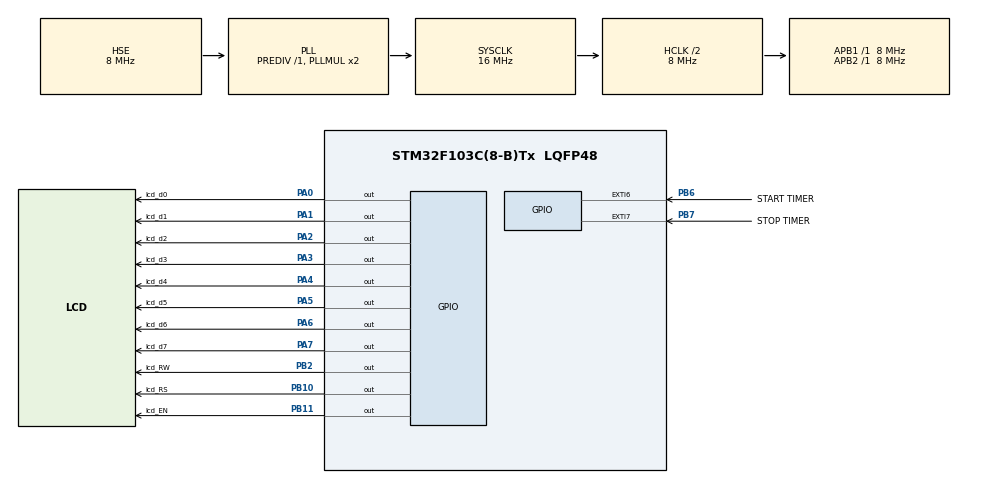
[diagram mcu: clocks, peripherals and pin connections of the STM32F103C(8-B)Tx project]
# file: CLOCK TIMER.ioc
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Mcu.Family=STM32F1
Mcu.Name=STM32F103C(8-B)Tx
Mcu.Package=LQFP48
NVIC.EXTI9_5_IRQn=true\:0\:0\:false\:false\:true\:true\:true\:true
NVIC.PriorityGroup=NVIC_PRIORITYGROUP_4
NVIC.TIM1_BRK_IRQn=true\:0\:0\:false\:false\:true\:true\:true\:true
NVIC.TIM1_UP_IRQn=true\:0\:0\:false\:false\:true\:true\:true\:true
PA0-WKUP.GPIO_Label=lcd_d0
PA0-WKUP.Signal=GPIO_Output
PA1.GPIO_Label=lcd_d1
PA1.Signal=GPIO_Output
PA13.Mode=Serial_Wire
PA13.Signal=SYS_JTMS-SWDIO
PA14.Mode=Serial_Wire
PA14.Signal=SYS_JTCK-SWCLK
PA2.GPIO_Label=lcd_d2
PA2.Signal=GPIO_Output
PA3.GPIO_Label=lcd_d3
PA3.Signal=GPIO_Output
PA4.GPIO_Label=lcd_d4
PA4.Signal=GPIO_Output
PA5.GPIO_Label=lcd_d5
PA5.Signal=GPIO_Output
PA6.GPIO_Label=lcd_d6
PA6.Signal=GPIO_Output
PA7.GPIO_Label=lcd_d7
PA7.Signal=GPIO_Output
PB10.GPIO_Label=lcd_RS
PB10.Signal=GPIO_Output
PB11.GPIO_Label=lcd_EN
PB11.Signal=GPIO_Output
PB2.GPIO_Label=lcd_RW
PB2.Signal=GPIO_Output
PB6.GPIO_Label=START TIMER 
PB6.GPIO_PuPd=GPIO_PULLDOWN
PB6.Signal=GPXTI6
PB7.GPIO_Label=STOP TIMER 
PB7.GPIO_PuPd=GPIO_PULLDOWN
PB7.Signal=GPXTI7
PD0-OSC_IN.Mode=HSE-External-Oscillator
PD0-OSC_IN.Signal=RCC_OSC_IN
PD1-OSC_OUT.Mode=HSE-External-Oscillator
PD1-OSC_OUT.Signal=RCC_OSC_OUT
ProjectManager.HeapSize=0x200
ProjectManager.StackSize=0x400
ProjectManager.TargetToolchain=MDK-ARM V5.32
RCC.AHBCLKDivider=RCC_SYSCLK_DIV2
RCC.AHBFreq_Value=8000000
RCC.APB1Freq_Value=8000000
RCC.APB1TimFreq_Value=8000000
RCC.APB2Freq_Value=8000000
RCC.APB2TimFreq_Value=8000000
RCC.HCLKFreq_Value=8000000
RCC.PLLSourceVirtual=RCC_PLLSOURCE_HSE
RCC.SYSCLKFreq_VALUE=16000000
RCC.SYSCLKSource=RCC_SYSCLKSOURCE_PLLCLK
RCC.USBFreq_Value=16000000
TIM1.Period=99
TIM1.Prescaler=7999
VP_TIM1_VS_ClockSourceINT.Mode=Internal
board=custom

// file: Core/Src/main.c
/* USER CODE BEGIN Header */
/**
  ******************************************************************************
  * @file           : main.c
  * @brief          : Main program body
  ******************************************************************************
  * @attention
  *
  * Copyright (c) 2026 STMicroelectronics.
  * All rights reserved.
  *
  * This software is licensed under terms that can be found in the LICENSE file
  * in the root directory of this software component.
  * If no LICENSE file comes with this software, it is provided AS-IS.
  *
  ******************************************************************************
  */
/* USER CODE END Header */
#include "main.h"

/* USER CODE BEGIN Includes */
#include "lcd.h"
#include "stdio.h"
/* USER CODE END Includes */

TIM_HandleTypeDef htim1;

/* USER CODE BEGIN PV */
// Elapsed-time state for the clock/stopwatch, updated in the TIM1 ISR and displayed in the main loop.

uint8_t Sec=0;

uint8_t Min=0;

uint8_t Hour=0;

// Sub-second tick counter; increments every TIM1 period elapse, rolls over into Sec every 10 ticks.

double counter=0;

Buffer to store Minute , Sec and Hour begining from 0:0:0

char Buffer [20]={'0'};

// Set by the ISR(s) to signal the main loop that the LCD display needs to be refreshed.

uint8_t flag=0;

/* USER CODE END PV */

void SystemClock_Config(void);
static void MX_GPIO_Init(void);
static void MX_TIM1_Init(void);

int main(void)
{

  /* MCU Configuration--------------------------------------------------------*/

  /* Reset of all peripherals, Initializes the Flash interface and the Systick. */
  HAL_Init();

  /* Configure the system clock */
  SystemClock_Config();

  /* Initialize all configured peripherals */
  MX_GPIO_Init();
  MX_TIM1_Init();
  /* USER CODE BEGIN 2 */
lcd_init();

// Start the 1-second base timer in interrupt mode to drive the Sec/Min/Hour counters.
HAL_TIM_Base_Start_IT(&htim1);

  /* USER CODE END 2 */

  /* Infinite loop */
  /* USER CODE BEGIN WHILE */

  while (1)
  {

// Only touch the LCD when the ISR signals a new tick, keeping the loop free to run other work

		if (flag){
		flag=0;
		lcd_clear();
		lcd_gotoxy(0,0);

		sprintf(Buffer,"%2d:%2d:%2d",Hour,Min,Sec);
		lcd_puts(Buffer);
	}

    /* USER CODE END WHILE */

  }
}

void SystemClock_Config(void)
{
  RCC_OscInitTypeDef RCC_OscInitStruct = {0};
  RCC_ClkInitTypeDef RCC_ClkInitStruct = {0};

  /** Initializes the RCC Oscillators according to the specified parameters
  * in the RCC_OscInitTypeDef structure.
  */
  RCC_OscInitStruct.OscillatorType = RCC_OSCILLATORTYPE_HSE;
  RCC_OscInitStruct.HSEState = RCC_HSE_ON;
  RCC_OscInitStruct.HSEPredivValue = RCC_HSE_PREDIV_DIV1;
  RCC_OscInitStruct.HSIState = RCC_HSI_ON;
  RCC_OscInitStruct.PLL.PLLState = RCC_PLL_ON;
  RCC_OscInitStruct.PLL.PLLSource = RCC_PLLSOURCE_HSE;
  RCC_OscInitStruct.PLL.PLLMUL = RCC_PLL_MUL2;
  if (HAL_RCC_OscConfig(&RCC_OscInitStruct) != HAL_OK)
  {
    Error_Handler();
  }

  /** Initializes the CPU, AHB and APB buses clocks
  */
  RCC_ClkInitStruct.ClockType = RCC_CLOCKTYPE_HCLK|RCC_CLOCKTYPE_SYSCLK
                              |RCC_CLOCKTYPE_PCLK1|RCC_CLOCKTYPE_PCLK2;
  RCC_ClkInitStruct.SYSCLKSource = RCC_SYSCLKSOURCE_PLLCLK;
  RCC_ClkInitStruct.AHBCLKDivider = RCC_SYSCLK_DIV2;
  RCC_ClkInitStruct.APB1CLKDivider = RCC_HCLK_DIV1;
  RCC_ClkInitStruct.APB2CLKDivider = RCC_HCLK_DIV1;

  if (HAL_RCC_ClockConfig(&RCC_ClkInitStruct, FLASH_LATENCY_0) != HAL_OK)
  {
    Error_Handler();
  }
}

static void MX_TIM1_Init(void)
{

  TIM_ClockConfigTypeDef sClockSourceConfig = {0};
  TIM_MasterConfigTypeDef sMasterConfig = {0};

// Prescaler/period chosen to generate a 100 ms update event (used as the 1/10 s tick for the clock).

  htim1.Instance = TIM1;
  htim1.Init.Prescaler = 7999;
  htim1.Init.CounterMode = TIM_COUNTERMODE_UP;
  htim1.Init.Period = 99;
  htim1.Init.ClockDivision = TIM_CLOCKDIVISION_DIV1;
  htim1.Init.RepetitionCounter = 0;
  htim1.Init.AutoReloadPreload = TIM_AUTORELOAD_PRELOAD_DISABLE;
  if (HAL_TIM_Base_Init(&htim1) != HAL_OK)
  {
    Error_Handler();
  }
  sClockSourceConfig.ClockSource = TIM_CLOCKSOURCE_INTERNAL;
  if (HAL_TIM_ConfigClockSource(&htim1, &sClockSourceConfig) != HAL_OK)
  {
    Error_Handler();
  }
  sMasterConfig.MasterOutputTrigger = TIM_TRGO_RESET;
  sMasterConfig.MasterSlaveMode = TIM_MASTERSLAVEMODE_DISABLE;
  if (HAL_TIMEx_MasterConfigSynchronization(&htim1, &sMasterConfig) != HAL_OK)
  {
    Error_Handler();
  }

}

static void MX_GPIO_Init(void)
{
  GPIO_InitTypeDef GPIO_InitStruct = {0};

  /* GPIO Ports Clock Enable */
  __HAL_RCC_GPIOD_CLK_ENABLE();
  __HAL_RCC_GPIOA_CLK_ENABLE();
  __HAL_RCC_GPIOB_CLK_ENABLE();

  /*Configure GPIO pin Output Level */
  HAL_GPIO_WritePin(GPIOA, lcd_d0_Pin|lcd_d1_Pin|lcd_d2_Pin|lcd_d3_Pin
                          |lcd_d4_Pin|lcd_d5_Pin|lcd_d6_Pin|lcd_d7_Pin, GPIO_PIN_RESET);

  /*Configure GPIO pin Output Level */
  HAL_GPIO_WritePin(GPIOB, lcd_RW_Pin|lcd_RS_Pin|lcd_EN_Pin, GPIO_PIN_RESET);

  /*Configure GPIO pins : lcd_d0_Pin lcd_d1_Pin lcd_d2_Pin lcd_d3_Pin
                           lcd_d4_Pin lcd_d5_Pin lcd_d6_Pin lcd_d7_Pin */
  GPIO_InitStruct.Pin = lcd_d0_Pin|lcd_d1_Pin|lcd_d2_Pin|lcd_d3_Pin
                          |lcd_d4_Pin|lcd_d5_Pin|lcd_d6_Pin|lcd_d7_Pin;
  GPIO_InitStruct.Mode = GPIO_MODE_OUTPUT_PP;
  GPIO_InitStruct.Pull = GPIO_NOPULL;
  GPIO_InitStruct.Speed = GPIO_SPEED_FREQ_LOW;
  HAL_GPIO_Init(GPIOA, &GPIO_InitStruct);

  /*Configure GPIO pins : lcd_RW_Pin lcd_RS_Pin lcd_EN_Pin */
  GPIO_InitStruct.Pin = lcd_RW_Pin|lcd_RS_Pin|lcd_EN_Pin;
  GPIO_InitStruct.Mode = GPIO_MODE_OUTPUT_PP;
  GPIO_InitStruct.Pull = GPIO_NOPULL;
  GPIO_InitStruct.Speed = GPIO_SPEED_FREQ_LOW;
  HAL_GPIO_Init(GPIOB, &GPIO_InitStruct);

  /*Configure GPIO pins : START_TIMER_Pin STOP_TIMER_Pin */
  GPIO_InitStruct.Pin = START_TIMER_Pin|STOP_TIMER_Pin;
  GPIO_InitStruct.Mode = GPIO_MODE_IT_RISING;
  GPIO_InitStruct.Pull = GPIO_PULLDOWN;
  HAL_GPIO_Init(GPIOB, &GPIO_InitStruct);

  /* EXTI interrupt init*/
  HAL_NVIC_SetPriority(EXTI9_5_IRQn, 0, 0);
  HAL_NVIC_EnableIRQ(EXTI9_5_IRQn);

}

/* USER CODE BEGIN 4 */

// EXTI callback shared by the start/stop button lines (GPIOB pins 6 and 7).

void HAL_GPIO_EXTI_Callback(uint16_t GPIO_Pin)
{

	if (GPIO_Pin==GPIO_PIN_6) //For start Timer, IF  external GPIO pin pulldown TRIGGERED
	{
			HAL_TIM_Base_Start_IT(&htim1);
	}

	if (GPIO_Pin==GPIO_PIN_7) //For stop Timer, IF  EXTERNAL GPIO pin pulldown TRIGGERED
	{
    // Stop the timer and reset the clock state so the next start begins from 00:00:00.
			HAL_TIM_Base_Stop(&htim1);
			Sec=0;
			Min=0;
			Hour=0;
			counter=0;
		  flag=1;
	}

}

// TIM1 update-event callback: advances the sub-second counter and cascades into Sec/Min/Hour.
void HAL_TIM_PeriodElapsedCallback(TIM_HandleTypeDef *htim)
{
	if (htim->Instance == TIM1)
	{
	counter ++;

// 10 ticks of 100 ms have elapsed: one full second.

		if (counter>9){

			counter = 0;

			Sec++;

			if(Sec>59){

				Sec=0;

				Min++;
				if(Min>59){

					Min=0;

					Hour++;

					if(Hour>24){

						Hour=0;
					}
				}
			}
		}
	}

	flag=1;

}

/* USER CODE END 4 */

void Error_Handler(void)
{
  __disable_irq();
  while (1)
  {
  }
}
